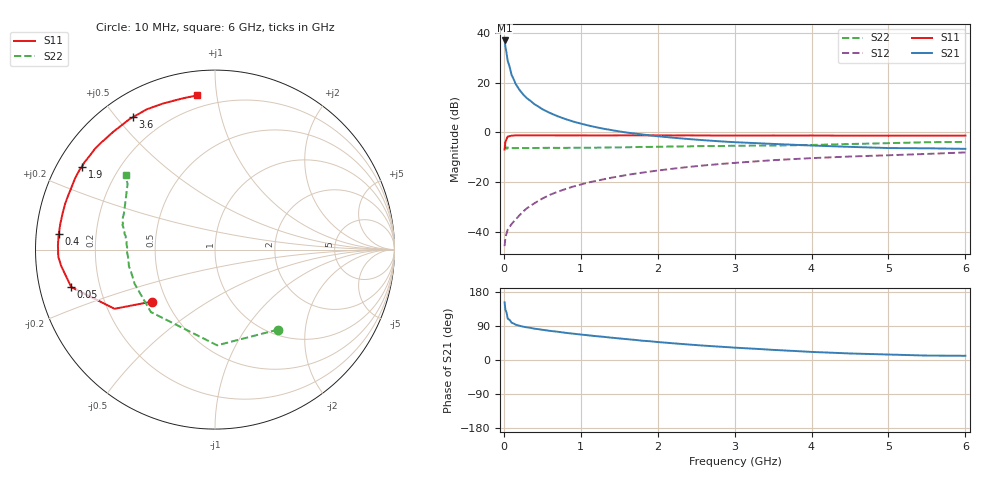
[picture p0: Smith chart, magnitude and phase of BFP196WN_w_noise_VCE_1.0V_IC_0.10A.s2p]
! Infineon Technologies  Discrete & RF Semiconductors
! BFP196WN
! VCE =  1.0 V,  IC = 0.10 A
! Common Emitter S-Parameters:  Jan 2017
# GHz  S  MA  R  50
!  f  S11  S21  S12  S22
! GHz  MAG  ANG  MAG  ANG  MAG  ANG  MAG  ANG
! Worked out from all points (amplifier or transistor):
!   77 points, 10 MHz to 6 GHz, reference 50 ohm
!   highest |S21| = 37.0 dB at 10 MHz (marker M1)
!   |S21| within 3 dB of that: start of sweep to 23.14 MHz
!   unconditionally stable (mu >= 1): 225.9 MHz to end of sweep
!   at 130 MHz: K = 0.85, MSG = 28.5 dB, |S12| = -35.8 dB
!   at 2.2 GHz: K = 1.08, MAG = 4.5 dB, |S12| = -14.5 dB
!   at 6 GHz: K = 1.02, MAG = -0.1 dB, |S12| = -8.0 dB
!   lowest NFmin = 1.80 dB at 450 MHz
!   S11 on the Smith chart (normalised r, x): 10 MHz: 0.42, -0.30; 50 MHz: 0.10, -0.13; 400 MHz: 0.07, +0.05; 1.9 GHz: 0.07, +0.29; 3.6 GHz: 0.09, +0.55; 6 GHz: 0.13, +0.88
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0.01  0.4543 -140.4  70.48 152.2  0.0052 63.5  0.5673 -51.8
0.02  0.6496 -149.5  52.96 132.9  0.0077 50.7  0.5334 -88.7
0.05  0.8279 -165.4  27.4 109.3  0.0111 40.8  0.4986 -135.8
0.1  0.862 -174.0  14.33 98.4  0.0144 50.6  0.4866 -156.7
0.15  0.874 -177.4  9.683 93.5  0.0176 55.8  0.484 -165.1
0.2  0.8742 -179.8  7.277 90.5  0.0214 60.9  0.4884 -169.0
0.25  0.8754 178.5  5.83 88.0  0.0258 63.6  0.4866 -171.5
0.3  0.8749 177.1  4.87 86.2  0.03 67.1  0.486 -173.8
0.4  0.8753 174.4  3.672 82.6  0.038 69.4  0.4871 -176.1
0.5  0.8737 172.2  2.94 79.7  0.0469 70.9  0.4898 -178.1
0.6  0.8737 170.2  2.463 76.9  0.056 70.8  0.4917 -179.7
0.7  0.8725 168.4  2.117 74.6  0.0643 71.6  0.4896 178.9
0.9  0.8725 164.4  1.661 69.5  0.0817 71.0  0.4929 177.0
1.1  0.8719 161.0  1.378 65.1  0.0991 69.8  0.4944 174.9
1.5  0.8732 154.5  1.049 56.9  0.1316 66.8  0.5021 171.8
1.9  0.8733 148.0  0.872 49.5  0.1636 63.5  0.5128 169.2
2.1  0.8732 144.7  0.812 45.8  0.1796 61.4  0.5194 168.1
3.1  0.8664 129.4  0.628 31.5  0.2512 51.4  0.5425 161.6
3.6  0.8678 121.9  0.58 25.7  0.2828 46.4  0.5489 157.2
4.1  0.8673 114.8  0.54 20.5  0.3097 41.5  0.5658 151.9
5.1  0.8608 104.1  0.485 13.9  0.3529 33.4  0.6151 142.6
6  0.8647 96.6  0.469 11.1  0.3972 27.2  0.6464 140.3
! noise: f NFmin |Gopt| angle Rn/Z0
0.45  1.8  0.6  -174  0.06
0.9  1.96  0.61  -167  0.08
1.9  2.98  0.71  -146  0.26
2.4  3.72  0.72  -137  0.44
